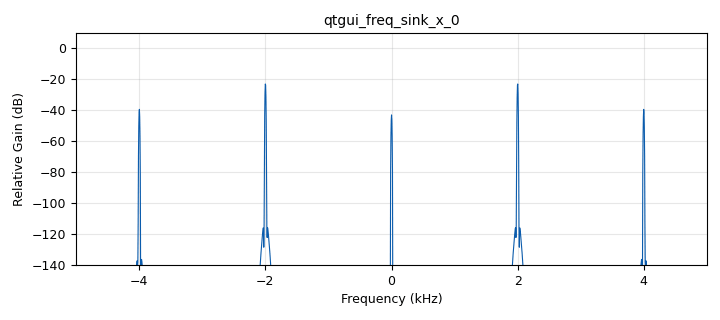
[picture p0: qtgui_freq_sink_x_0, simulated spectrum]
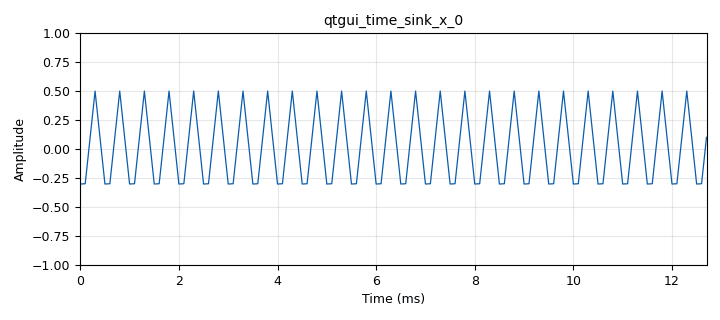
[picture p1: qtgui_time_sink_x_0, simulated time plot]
options:
  parameters:
    generate_options: qt_gui
    id: LAB_COMU1
    output_language: python
    title: Primer flujograma
  states: {}

blocks:
- name: freq
  id: variable_qtgui_range
  parameters:
    label: frequency
    start: '1000'
    step: '1000'
    stop: '40000'
    value: '2000'
  states: {}
- name: samp_rate
  id: variable_qtgui_range
  parameters:
    label: frecuencia de muestreo
    start: '1000'
    step: '1000'
    stop: '80000'
    value: '10000'
  states: {}
- name: variable_tag_object_0
  id: variable_tag_object
  parameters:
    key: pmt.intern("key")
    offset: '0'
    src: pmt.intern("src")
    value: pmt.intern("value")
  states: {}
- name: analog_sig_source_x_0
  id: analog_sig_source_x
  parameters:
    amp: '1'
    freq: freq
    offset: '-0.5'
    phase: '0'
    samp_rate: samp_rate
    type: float
    waveform: analog.GR_TRI_WAVE
  states: {}
- name: blocks_throttle_0
  id: blocks_throttle
  parameters:
    samples_per_second: samp_rate
    type: float
  states: {}
- name: qtgui_freq_sink_x_0
  id: qtgui_freq_sink_x
  parameters:
    bw: samp_rate
    fc: '0'
    fftsize: '2048'
    type: float
  states: {}
- name: qtgui_time_sink_x_0
  id: qtgui_time_sink_x
  parameters:
    grid: 'True'
    size: '128'
    srate: samp_rate
    type: float
  states: {}

connections:
- [analog_sig_source_x_0, '0', blocks_throttle_0, '0']
- [blocks_throttle_0, '0', qtgui_freq_sink_x_0, '0']
- [blocks_throttle_0, '0', qtgui_time_sink_x_0, '0']

metadata:
  file_format: 1
  grc_version: 3.9.8.0
